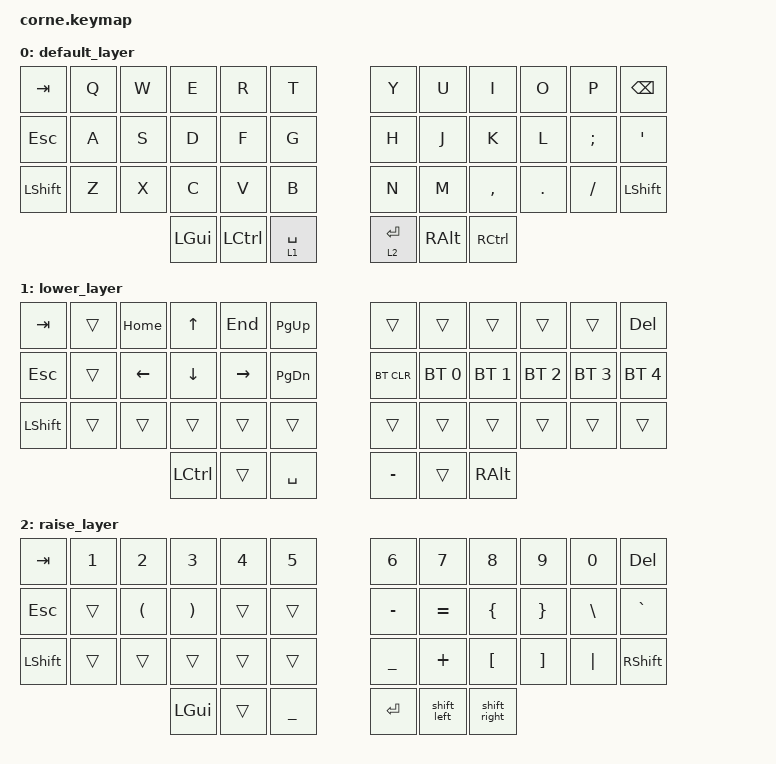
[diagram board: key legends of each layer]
/*
 * Copyright (c) 2020 The ZMK Contributors
 *
 * SPDX-License-Identifier: MIT
 */

#include <behaviors.dtsi>
#include <dt-bindings/zmk/keys.h>
#include <dt-bindings/zmk/bt.h>

/ {
  macros {
    shift_left: shift_left {
      compatible = "zmk,behavior-macro";
      #binding-cells = <0>;
      bindings =
        <&macro_press &kp RALT>,
        <&macro_press &kp RCTRL>,
        <&macro_tap &kp LEFT>,
        <&macro_release &kp RALT>,
        <&macro_release &kp RCTRL>;
    };
    shift_right: shift_right {
      compatible = "zmk,behavior-macro";
      #binding-cells = <0>;
      bindings =
        <&macro_press &kp RALT>,
        <&macro_press &kp RCTRL>,
        <&macro_tap &kp RIGHT>,
        <&macro_release &kp RALT>,
        <&macro_release &kp RCTRL>;
    };
  };
};

/ {
        keymap {
                compatible = "zmk,keymap";

                default_layer {
// -----------------------------------------------------------------------------------------
// |  TAB |  Q  |  W  |  E  |  R  |  T  |   |  Y  |  U   |  I  |  O  |  P  | BKSP |
// | ESC  |  A  |  S  |  D  |  F  |  G  |   |  H  |  J   |  K  |  L  |  ;  |  '   |
// | SHFT |  Z  |  X  |  C  |  V  |  B  |   |  N  |  M   |  ,  |  .  |  /  | SHFT |
//                    | GUI | CTL | SPC |   | ENT | ALT  | CTL |
                        bindings = <
   &kp TAB   &kp Q &kp W &kp E &kp R &kp T   &kp Y &kp U  &kp I     &kp O   &kp P    &kp BSPC
   &kp ESC &kp A &kp S &kp D &kp F &kp G   &kp H &kp J  &kp K     &kp L   &kp SEMI &kp SQT
   &kp LSHFT &kp Z &kp X &kp C &kp V &kp B   &kp N &kp M  &kp COMMA &kp DOT &kp FSLH &kp LSHFT
                  &kp LGUI &kp LCTRL &lt 1 SPACE   &lt 2 RET &kp RALT &kp RCTL
                        >;
                };
                lower_layer {
// -----------------------------------------------------------------------------------------
// | TAB  |     | HME | UP  | END | PUP |   |     |     |     |     |     | DEL  |
// | ESC  |     | LFT | DWN | RGT | PDN |   |BTCLR| BT1 | BT2 | BT3 | BT4 | BT5  |
// | SHFT |     |     |     |     |     |   |     |     |     |     |     |      |
//                    | CTL |     | SPC |   | -   |     | ALT |
                        bindings = <
   &kp TAB    &trans   &kp HOME   &kp UP     &kp END    &kp PAGE_UP    &trans     &trans       &trans       &trans       &trans       &kp DEL
   &kp ESC    &trans   &kp LEFT   &kp DOWN   &kp RIGHT  &kp PAGE_DOWN  &bt BT_CLR &bt BT_SEL 0 &bt BT_SEL 1 &bt BT_SEL 2 &bt BT_SEL 3 &bt BT_SEL 4
   &kp LSHFT  &trans   &trans     &trans     &trans     &trans         &trans     &trans       &trans       &trans       &trans       &trans
                                  &kp LCTRL  &trans     &kp SPACE      &kp MINUS    &trans       &kp RALT
                        >;
                };

                raise_layer {
// -----------------------------------------------------------------------------------------
// |  TAB |  !  |  @  |  #  |  $  |  %  |   |  ^  |  &  |  *  |  (  |  )  | DEL  |
// | ESC  |     |  (  |  )  |     |     |   |  -  |  =  |  {  |  }  |  \  |  `   |
// | SHFT |     |     |     |     |     |   |  _  |  +  |  [  |  ]  | "|" | SHFT |
//                    | GUI |     | _   |   | ENT | SLT | SRT |
                        bindings = <
   &kp TAB   &kp N1   &kp N2   &kp N3   &kp N4   &kp N5      &kp N6    &kp N7    &kp N8    &kp N9   &kp N0   &kp DEL
   &kp ESC   &trans   &kp LPAR &kp RPAR &trans   &trans      &kp MINUS &kp EQUAL &kp LBRC  &kp RBRC &kp BSLH &kp GRAVE
   &kp LSHFT &trans   &trans   &trans   &trans   &trans      &kp UNDER &kp PLUS  &kp LBKT  &kp RBKT &kp PIPE &kp RSHFT
                             &kp LGUI  &trans   &kp UNDER   &kp RET   &shift_left    &shift_right
                        >;
                };
        };
};
